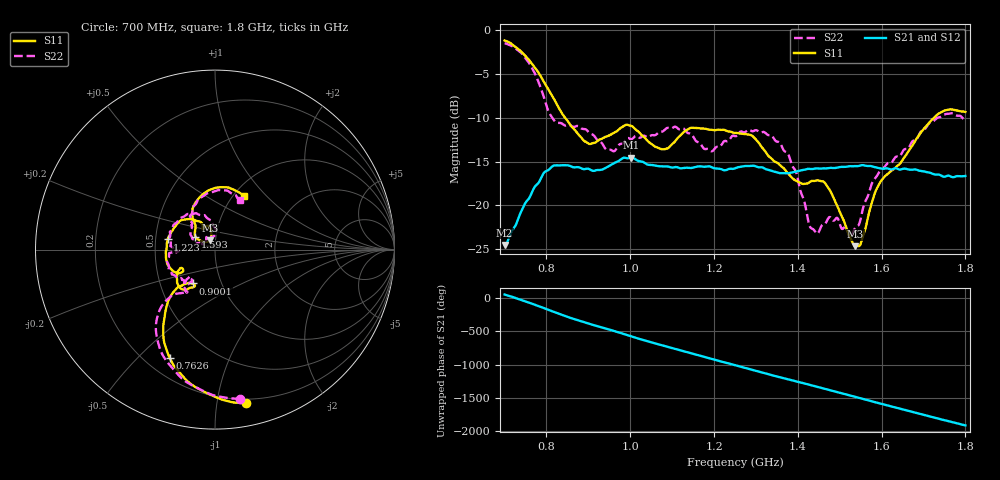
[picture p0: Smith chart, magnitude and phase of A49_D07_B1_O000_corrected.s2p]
! Created with skrf 1.9.0 (http://scikit-rf.org).
# Hz S RI R 50.0
!freq ReS11 ImS11 ReS21 ImS21 ReS12 ImS12 ReS22 ImS22
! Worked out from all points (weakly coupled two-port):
!   1601 points, 700 MHz to 1.8 GHz, reference 50 ohm
!   highest |S21| = -14.53 dB at 1.002 GHz (marker M1); lowest = -24.5 dB at 700 MHz (marker M2)
!   lowest |S11| = -24.6 dB at 1.537 GHz (marker M3), VSWR 1.12, Z = 47.3 + j5 ohm
!   |S11| at or under -10 dB: 844.6 MHz to 1.725 GHz (880 MHz wide, 68.5 % of centre)
!   |S22| runs from -23.7 to -1.5 dB; largest |S21 - S12| = 0.0035
!   S11 on the Smith chart (normalised r, x): 700 MHz: 0.17, -1.21; 762.6 MHz: 0.30, -0.63; 900.1 MHz: 0.73, -0.29; 1.223 GHz: 0.58, +0.07; 1.593 GHz: 0.80, +0.12; 1.8 GHz: 1.12, +0.76
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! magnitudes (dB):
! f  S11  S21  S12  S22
! 700 MHz  -1.2  -24.5  -24.3  -1.5
! 762.6 MHz  -3.7  -18.8  -18.8  -4.1
! 817.6 MHz  -7.8  -15.4  -15.6  -10.3
! 883.6 MHz  -12.3  -15.8  -15.7  -11.2
! 900.1 MHz  -12.9  -15.8  -15.8  -11.6
! 957.8 MHz  -11.8  -15.3  -15.3  -13.8
! 1.002 GHz  -10.9  -14.5  -14.6  -12.5
! 1.067 GHz  -13.4  -15.5  -15.5  -11.7
! 1.144 GHz  -11.2  -15.7  -15.7  -11.8
! 1.192 GHz  -11.4  -15.6  -15.6  -13.8
! 1.223 GHz  -11.4  -16.0  -16.0  -12.7
! 1.25 GHz  -11.7  -15.8  -15.7  -12.1
! 1.357 GHz  -15.4  -16.3  -16.3  -12.9
! 1.395 GHz  -17.2  -16.1  -16.1  -16.1
! 1.434 GHz  -17.2  -15.8  -15.8  -22.6
! 1.471 GHz  -17.9  -15.8  -15.7  -21.6
! 1.537 GHz  -24.6  -15.5  -15.5  -22.5
! 1.552 GHz  -24.1  -15.4  -15.4  -21.1
! 1.593 GHz  -17.7  -15.7  -15.7  -16.3
! 1.617 GHz  -16.3  -15.8  -15.8  -15.1
! 1.733 GHz  -9.6  -16.5  -16.5  -10.0
! 1.8 GHz  -9.3  -16.6  -16.6  -10.2
